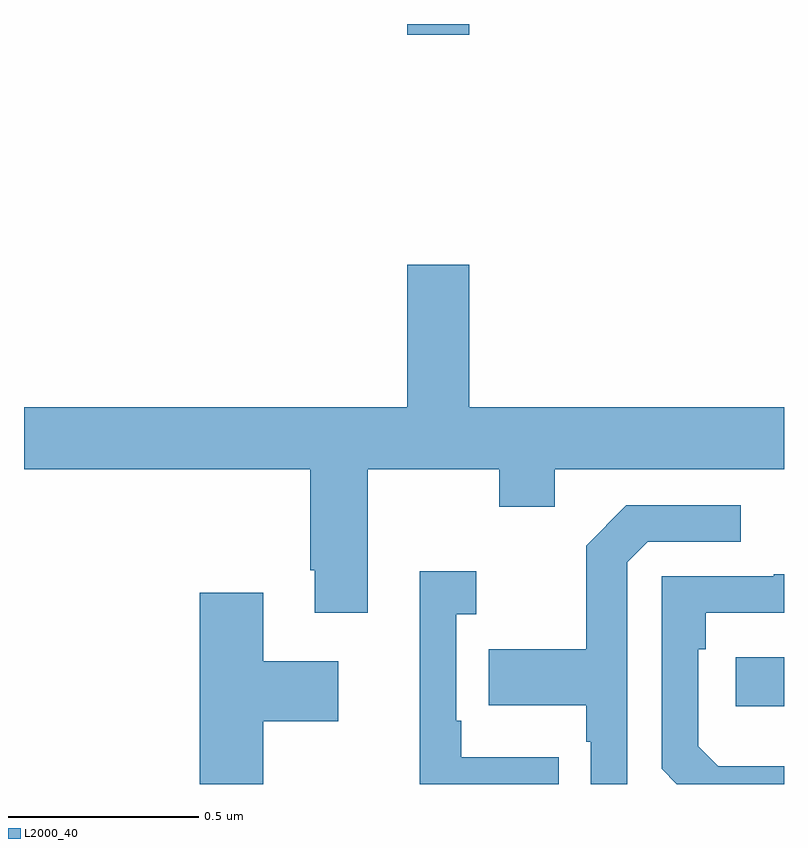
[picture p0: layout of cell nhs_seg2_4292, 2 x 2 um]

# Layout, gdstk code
import gdstk
lib = gdstk.Library(unit=1e-6, precision=1e-09)
def R(c, l, rs):  # rectangles x0, y0, x1, y1
    for r in rs: c.add(gdstk.rectangle(r[:2], r[2:], *l))
def P(c, l, *ps):  # polygons
    for p in ps: c.add(gdstk.Polygon(p, *l))
L2000_40 = (2000, 40)

nhs_seg2_4292 = lib.new_cell('nhs_seg2_4292')
R(nhs_seg2_4292, L2000_40, [(165.873,655.004,166,655.134), (165.008,656.772,165.172,656.8)])
P(nhs_seg2_4292, L2000_40, [(164.905,655.628),(165.25,655.628),(165.25,655.529),(165.397,655.529),(165.397,655.628),(166,655.628),(166,655.792),(165.172,655.792),(165.172,656.167),(165.008,656.167),(165.008,655.792),(164,655.792),(164,655.628),(164.753,655.628),(164.753,655.363),(164.765,655.363),(164.765,655.251),(164.905,655.251)],
  [(165.588,655.383),(165.642,655.437),(165.886,655.437),(165.886,655.533),(165.585,655.533),(165.48,655.427),(165.48,655.155),(165.223,655.155),(165.223,655.007),(165.48,655.007),(165.48,654.911),(165.492,654.911),(165.492,654.8),(165.588,654.8)],
  [(165.407,654.871),(165.151,654.871),(165.151,654.967),(165.138,654.967),(165.138,655.247),(165.19,655.247),(165.19,655.36),(165.041,655.36),(165.041,654.8),(165.407,654.8)],
  [(166,654.847),(165.827,654.847),(165.774,654.9),(165.774,655.154),(165.794,655.154),(165.794,655.251),(166,655.251),(166,655.352),(165.973,655.352),(165.973,655.347),(165.678,655.347),(165.678,654.84),(165.718,654.8),(166,654.8)],
  [(164.629,654.965),(164.827,654.965),(164.827,655.123),(164.629,655.123),(164.629,655.303),(164.462,655.303),(164.462,654.8),(164.629,654.8)])

lib.write_gds('nhs_seg2_4292.gds')
